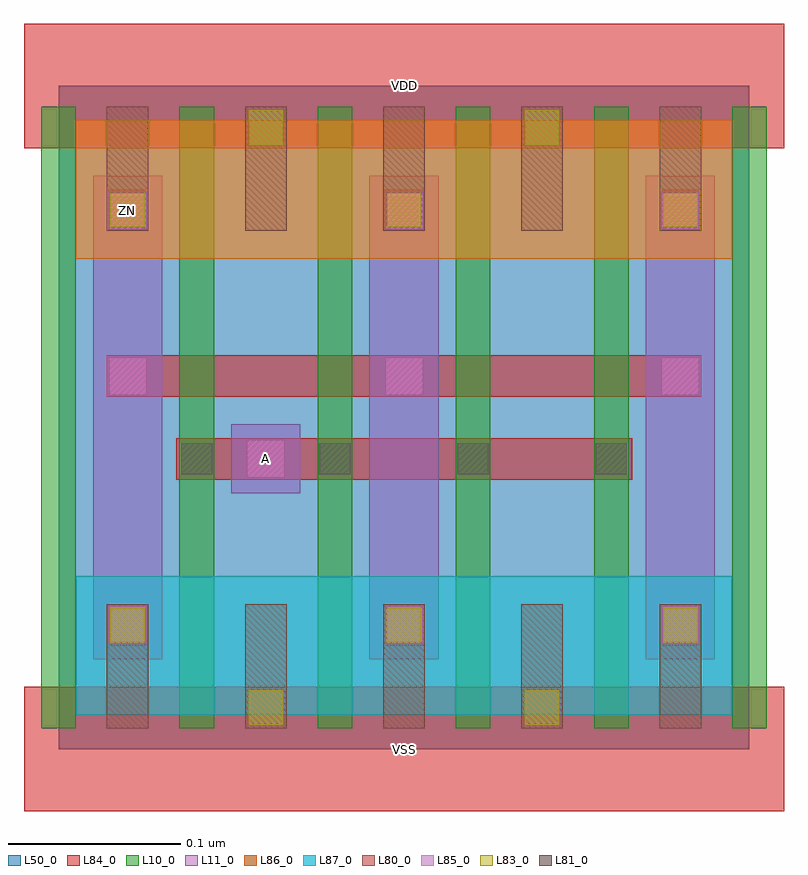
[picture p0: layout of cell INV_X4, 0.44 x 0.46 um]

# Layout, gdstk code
import gdstk
lib = gdstk.Library(unit=1e-6, precision=1e-09)
def R(c, l, rs):  # rectangles x0, y0, x1, y1
    for r in rs: c.add(gdstk.rectangle(r[:2], r[2:], *l))
def A(c, l, x, y, w, h, nx, ny, dx, dy):  # array of equal rectangles
    R(c, l, [(x+i*dx, y+j*dy, x+i*dx+w, y+j*dy+h) for i in range(nx) for j in range(ny)])
L10_0 = (10, 0)
L11_0 = (11, 0)
L50_0 = (50, 0)
L80_0 = (80, 0)
L81_0 = (81, 0)
L83_0 = (83, 0)
L84_0 = (84, 0)
L85_0 = (85, 0)
L86_0 = (86, 0)
L87_0 = (87, 0)

inv_x4 = lib.new_cell('INV_X4')
A(inv_x4, L10_0, -0.01, 0.012, 0.02, 0.36, 6, 1, 0.08, 0)
A(inv_x4, L11_0, 0.02, 0.052, 0.04, 0.28, 3, 1, 0.16, 0)
R(inv_x4, L11_0, [(0.1,0.148,0.14,0.188)])
R(inv_x4, L50_0, [(0,0,0.4,0.384)])
A(inv_x4, L80_0, 0.028, 0.012, 0.024, 0.072, 5, 2, 0.08, 0.288)
A(inv_x4, L81_0, 0.071, 0.159, 0.018, 0.018, 4, 1, 0.08, 0)
A(inv_x4, L83_0, 0.03, 0.062, 0.02, 0.02, 3, 2, 0.16, 0.24)
R(inv_x4, L83_0, [(0.11,0.014,0.13,0.034), (0.27,0.014,0.29,0.034), (0.11,0.35,0.13,0.37), (0.27,0.35,0.29,0.37)])
A(inv_x4, L84_0, 0.028, 0.06, 0.024, 0.024, 3, 2, 0.16, 0.24)
R(inv_x4, L84_0, [(-0.02,-0.036,0.42,0.036), (0.068,0.156,0.332,0.18), (0.028,0.204,0.372,0.228), (-0.02,0.348,0.42,0.42)])
A(inv_x4, L85_0, 0.029, 0.061, 0.022, 0.022, 3, 2, 0.16, 0.144)
A(inv_x4, L85_0, 0.029, 0.301, 0.022, 0.022, 3, 1, 0.16, 0)
R(inv_x4, L85_0, [(0.109,0.157,0.131,0.179)])
R(inv_x4, L86_0, [(0.01,0.284,0.39,0.364)])
R(inv_x4, L87_0, [(0.01,0.02,0.39,0.1)])
inv_x4.add(gdstk.Label('VDD', (0.2,0.384), layer=88, texttype=0))
inv_x4.add(gdstk.Label('VSS', (0.2,0), layer=88, texttype=0))
inv_x4.add(gdstk.Label('ZN', (0.04,0.312), layer=31, texttype=0))
inv_x4.add(gdstk.Label('A', (0.12,0.168), layer=31, texttype=0))

lib.write_gds('INV_X4.gds')
